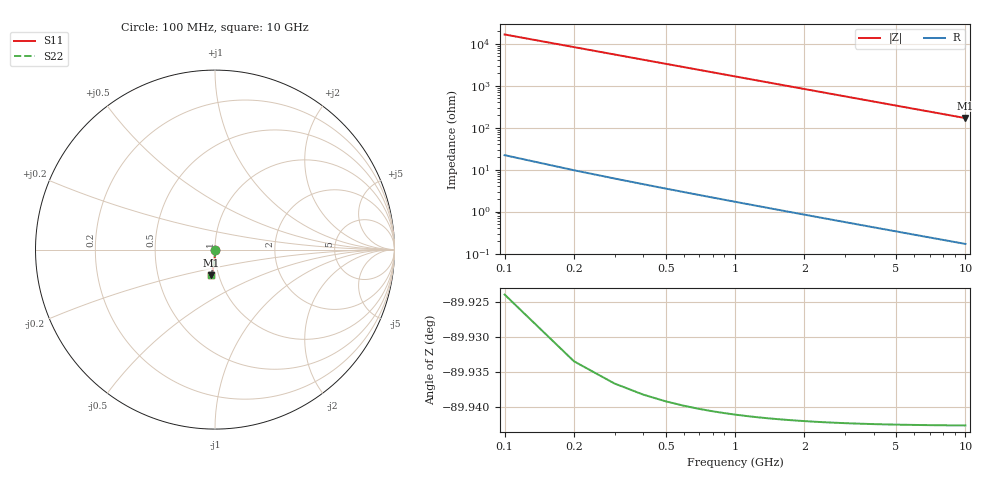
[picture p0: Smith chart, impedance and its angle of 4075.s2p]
# Hz S RI R 50.00
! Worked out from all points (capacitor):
!   100 points, 100 MHz to 10 GHz, reference 50 ohm
!   read as one part in shunt: C = 95.6 fF near 100 MHz
!   lowest |Z| = 169 ohm at 10 GHz (marker M1)
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1e8  -3.69e-06 -0.0015  1 -0.0015  1 -0.0015  -3.69e-06 -0.0015
2e8  -1.19e-05 -0.003  1 -0.00301  1 -0.00301  -1.19e-05 -0.003
3e8  -2.47e-05 -0.00449  1 -0.00451  1 -0.00451  -2.47e-05 -0.00449
4e8  -4.19e-05 -0.00599  1 -0.00601  1 -0.00601  -4.19e-05 -0.00599
5e8  -6.37e-05 -0.00749  0.9999 -0.00752  0.9999 -0.00752  -6.37e-05 -0.00749
6e8  -8.99e-05 -0.00898  0.9999 -0.00902  0.9999 -0.00902  -8.99e-05 -0.00898
7e8  -0.000121 -0.0105  0.9999 -0.0105  0.9999 -0.0105  -0.000121 -0.0105
8e8  -0.000156 -0.012  0.9998 -0.012  0.9998 -0.012  -0.000156 -0.012
9e8  -0.000196 -0.0135  0.9998 -0.0135  0.9998 -0.0135  -0.000196 -0.0135
1.1e9  -0.000288 -0.0165  0.9997 -0.0165  0.9997 -0.0165  -0.000288 -0.0165
1.4e9  -0.000461 -0.0209  0.9995 -0.021  0.9995 -0.021  -0.000461 -0.0209
1.8e9  -0.000752 -0.0269  0.9992 -0.027  0.9992 -0.027  -0.000752 -0.0269
2.1e9  -0.00102 -0.0313  0.999 -0.0315  0.999 -0.0315  -0.00102 -0.0313
2.5e9  -0.00143 -0.0372  0.9986 -0.0374  0.9986 -0.0374  -0.00143 -0.0372
2.9e9  -0.00192 -0.0431  0.9981 -0.0433  0.9981 -0.0433  -0.00192 -0.0431
3.4e9  -0.00262 -0.0505  0.9974 -0.0507  0.9974 -0.0507  -0.00262 -0.0505
4.2e9  -0.00396 -0.0622  0.996 -0.0624  0.996 -0.0624  -0.00396 -0.0622
5.1e9  -0.0058 -0.0753  0.9942 -0.0756  0.9942 -0.0756  -0.0058 -0.0753
5.9e9  -0.00771 -0.0868  0.9923 -0.0871  0.9923 -0.0871  -0.00771 -0.0868
6.7e9  -0.00988 -0.0982  0.9901 -0.0986  0.9901 -0.0986  -0.00988 -0.0982
8.4e9  -0.0153 -0.1222  0.9847 -0.1227  0.9847 -0.1227  -0.0153 -0.1222
1e10  -0.0215 -0.1443  0.9785 -0.1449  0.9785 -0.1449  -0.0215 -0.1443
